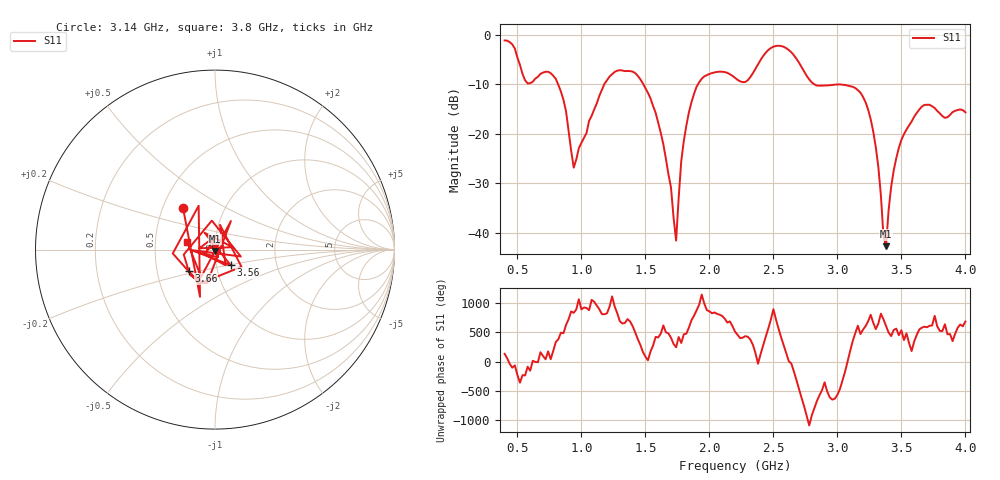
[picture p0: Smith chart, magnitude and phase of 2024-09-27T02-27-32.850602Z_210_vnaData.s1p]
!Created with skrf (http://scikit-rf.org).
# Hz S RI R 50.0
!freq ReS11 ImS11
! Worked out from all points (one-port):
!   181 points, 400 MHz to 4 GHz, reference 50 ohm
!   lowest |S11| = -42.7 dB at 3.38 GHz (marker M1), VSWR 1.01, Z = 49.7 - j0.69 ohm
!   |S11| at or under -10 dB: 817.8 MHz to 1.179 GHz (360.8 MHz wide, 36.1 % of centre); 1.484 GHz to 1.911 GHz (427.4 MHz wide, 25.2 % of centre); 2.82 GHz to end of sweep
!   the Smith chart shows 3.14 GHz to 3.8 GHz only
!   S11 on the Smith chart (normalised r, x): 3.14 GHz: 0.64, +0.32; 3.56 GHz: 1.17, -0.20; 3.66 GHz: 0.73, -0.18; 3.8 GHz: 0.73, +0.06
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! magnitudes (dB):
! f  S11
! 400 MHz  -1.2
! 580 MHz  -9.8
! 740 MHz  -7.5
! 860 MHz  -13.2
! 940 MHz  -26.8
! 1.18 GHz  -9.9
! 1.3 GHz  -7.2
! 1.44 GHz  -8.3
! 1.58 GHz  -15.8
! 1.7 GHz  -30.8
! 1.74 GHz  -41.5
! 1.76 GHz  -32.9
! 1.8 GHz  -21.4
! 1.9 GHz  -10.5
! 2.2 GHz  -8.7
! 2.5 GHz  -2.4
! 2.66 GHz  -4.2
! 2.82 GHz  -10.0
! 3.1 GHz  -10.4
! 3.14 GHz  -10.8
! 3.28 GHz  -19.5
! 3.36 GHz  -40.7
! 3.38 GHz  -42.7
! 3.44 GHz  -27.4
! 3.56 GHz  -18.3
! 3.66 GHz  -14.5
! 3.8 GHz  -15.9
! 4 GHz  -15.7
